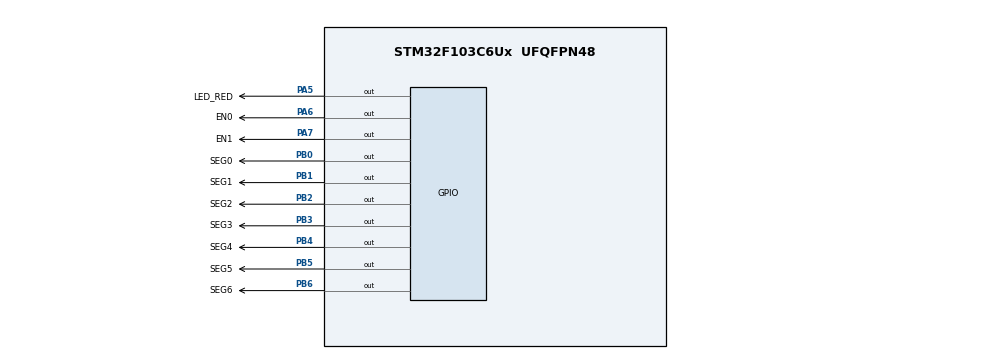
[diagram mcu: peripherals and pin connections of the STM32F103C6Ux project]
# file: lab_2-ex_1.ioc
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Mcu.Family=STM32F1
Mcu.Name=STM32F103C6Ux
Mcu.Package=UFQFPN48
NVIC.PriorityGroup=NVIC_PRIORITYGROUP_4
NVIC.TIM2_IRQn=true\:0\:0\:false\:false\:true\:true\:true
PA5.GPIO_Label=LED_RED
PA5.Signal=GPIO_Output
PA6.GPIO_Label=EN0
PA6.Signal=GPIO_Output
PA7.GPIO_Label=EN1
PA7.Signal=GPIO_Output
PB0.GPIO_Label=SEG0
PB0.Signal=GPIO_Output
PB1.GPIO_Label=SEG1
PB1.Signal=GPIO_Output
PB2.GPIO_Label=SEG2
PB2.Signal=GPIO_Output
PB3.GPIO_Label=SEG3
PB3.Signal=GPIO_Output
PB4.GPIO_Label=SEG4
PB4.Signal=GPIO_Output
PB5.GPIO_Label=SEG5
PB5.Signal=GPIO_Output
PB6.GPIO_Label=SEG6
PB6.Signal=GPIO_Output
ProjectManager.HeapSize=0x200
ProjectManager.StackSize=0x400
ProjectManager.TargetToolchain=STM32CubeIDE
RCC.APB1Freq_Value=8000000
RCC.APB2Freq_Value=8000000
TIM2.Period=9
TIM2.Prescaler=7999
VP_SYS_VS_ND.Mode=No_Debug
VP_TIM2_VS_ClockSourceINT.Mode=Internal
board=custom

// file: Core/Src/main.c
/* USER CODE BEGIN Header */
/**
  ******************************************************************************
  * @file           : main.c
  * @brief          : Main program body
  ******************************************************************************
  * @attention
  *
  * <h2><center>&copy; Copyright (c) 2022 STMicroelectronics.
  * All rights reserved.</center></h2>
  *
  * This software component is licensed by ST under BSD 3-Clause license,
  * the "License"; You may not use this file except in compliance with the
  * License. You may obtain a copy of the License at:
  *                        opensource.org/licenses/BSD-3-Clause
  *
  ******************************************************************************
  */
/* USER CODE END Header */
#include "main.h"

/* USER CODE BEGIN Includes */
#include "software_timer.h"
/* USER CODE END Includes */

TIM_HandleTypeDef htim2;

void SystemClock_Config(void);
static void MX_GPIO_Init(void);
static void MX_TIM2_Init(void);

int main(void)
{

  /* MCU Configuration--------------------------------------------------------*/

  /* Reset of all peripherals, Initializes the Flash interface and the Systick. */
  HAL_Init();

  /* USER CODE BEGIN Init */

//  uint8_t segmentNumber[10] = {
//		  0x3f,  // 0
//		  0x06,  // 1
//		  0x5b,  // 2
//		  0x4f,  // 3
//		  0x66,  // 4
//		  0x6d,  // 5
//		  0x7d,  // 6
//		  0x07,  // 7
//		  0x7f,  // 8
//		  0x67   // 9
//  };
  /* USER CODE END Init */

  /* Configure the system clock */
  SystemClock_Config();

  /* Initialize all configured peripherals */
  MX_GPIO_Init();
  MX_TIM2_Init();
  /* USER CODE BEGIN 2 */
  HAL_TIM_Base_Start_IT(&htim2);
  /* USER CODE END 2 */

  /* Infinite loop */
  while (1)
  {

  }
}

void SystemClock_Config(void)
{
  RCC_OscInitTypeDef RCC_OscInitStruct = {0};
  RCC_ClkInitTypeDef RCC_ClkInitStruct = {0};

  /** Initializes the RCC Oscillators according to the specified parameters
  * in the RCC_OscInitTypeDef structure.
  */
  RCC_OscInitStruct.OscillatorType = RCC_OSCILLATORTYPE_HSI;
  RCC_OscInitStruct.HSIState = RCC_HSI_ON;
  RCC_OscInitStruct.HSICalibrationValue = RCC_HSICALIBRATION_DEFAULT;
  RCC_OscInitStruct.PLL.PLLState = RCC_PLL_NONE;
  if (HAL_RCC_OscConfig(&RCC_OscInitStruct) != HAL_OK)
  {
    Error_Handler();
  }
  /** Initializes the CPU, AHB and APB buses clocks
  */
  RCC_ClkInitStruct.ClockType = RCC_CLOCKTYPE_HCLK|RCC_CLOCKTYPE_SYSCLK
                              |RCC_CLOCKTYPE_PCLK1|RCC_CLOCKTYPE_PCLK2;
  RCC_ClkInitStruct.SYSCLKSource = RCC_SYSCLKSOURCE_HSI;
  RCC_ClkInitStruct.AHBCLKDivider = RCC_SYSCLK_DIV1;
  RCC_ClkInitStruct.APB1CLKDivider = RCC_HCLK_DIV1;
  RCC_ClkInitStruct.APB2CLKDivider = RCC_HCLK_DIV1;

  if (HAL_RCC_ClockConfig(&RCC_ClkInitStruct, FLASH_LATENCY_0) != HAL_OK)
  {
    Error_Handler();
  }
}

static void MX_TIM2_Init(void)
{

  TIM_ClockConfigTypeDef sClockSourceConfig = {0};
  TIM_MasterConfigTypeDef sMasterConfig = {0};

  htim2.Instance = TIM2;
  htim2.Init.Prescaler = 7999;
  htim2.Init.CounterMode = TIM_COUNTERMODE_UP;
  htim2.Init.Period = 9;
  htim2.Init.ClockDivision = TIM_CLOCKDIVISION_DIV1;
  htim2.Init.AutoReloadPreload = TIM_AUTORELOAD_PRELOAD_DISABLE;
  if (HAL_TIM_Base_Init(&htim2) != HAL_OK)
  {
    Error_Handler();
  }
  sClockSourceConfig.ClockSource = TIM_CLOCKSOURCE_INTERNAL;
  if (HAL_TIM_ConfigClockSource(&htim2, &sClockSourceConfig) != HAL_OK)
  {
    Error_Handler();
  }
  sMasterConfig.MasterOutputTrigger = TIM_TRGO_RESET;
  sMasterConfig.MasterSlaveMode = TIM_MASTERSLAVEMODE_DISABLE;
  if (HAL_TIMEx_MasterConfigSynchronization(&htim2, &sMasterConfig) != HAL_OK)
  {
    Error_Handler();
  }

}

static void MX_GPIO_Init(void)
{
  GPIO_InitTypeDef GPIO_InitStruct = {0};

  /* GPIO Ports Clock Enable */
  __HAL_RCC_GPIOA_CLK_ENABLE();
  __HAL_RCC_GPIOB_CLK_ENABLE();

  /*Configure GPIO pin Output Level */
  HAL_GPIO_WritePin(GPIOA, LED_RED_Pin|EN0_Pin|EN1_Pin, GPIO_PIN_RESET);

  /*Configure GPIO pin Output Level */
  HAL_GPIO_WritePin(GPIOB, SEG0_Pin|SEG1_Pin|SEG2_Pin|SEG3_Pin
                          |SEG4_Pin|SEG5_Pin|SEG6_Pin, GPIO_PIN_RESET);

  /*Configure GPIO pins : LED_RED_Pin EN0_Pin EN1_Pin */
  GPIO_InitStruct.Pin = LED_RED_Pin|EN0_Pin|EN1_Pin;
  GPIO_InitStruct.Mode = GPIO_MODE_OUTPUT_PP;
  GPIO_InitStruct.Pull = GPIO_NOPULL;
  GPIO_InitStruct.Speed = GPIO_SPEED_FREQ_LOW;
  HAL_GPIO_Init(GPIOA, &GPIO_InitStruct);

  /*Configure GPIO pins : SEG0_Pin SEG1_Pin SEG2_Pin SEG3_Pin
                           SEG4_Pin SEG5_Pin SEG6_Pin */
  GPIO_InitStruct.Pin = SEG0_Pin|SEG1_Pin|SEG2_Pin|SEG3_Pin
                          |SEG4_Pin|SEG5_Pin|SEG6_Pin;
  GPIO_InitStruct.Mode = GPIO_MODE_OUTPUT_PP;
  GPIO_InitStruct.Pull = GPIO_NOPULL;
  GPIO_InitStruct.Speed = GPIO_SPEED_FREQ_LOW;
  HAL_GPIO_Init(GPIOB, &GPIO_InitStruct);

}

/* USER CODE BEGIN 4 */
int segment_flag = 1;
int timer_flag = 50;
void HAL_TIM_PeriodElapsedCallback(TIM_HandleTypeDef *htim){
	if(timer_flag > 0){
	  if(timer_flag == 50){
		  switch(segment_flag){
				case 1:
					segment_flag = 2;
					HAL_GPIO_WritePin(EN1_GPIO_Port, EN1_Pin, SET);
					HAL_GPIO_WritePin(EN0_GPIO_Port, EN0_Pin, RESET);
					HAL_GPIO_WritePin(SEG0_GPIO_Port, SEG0_Pin, SET);
					HAL_GPIO_WritePin(SEG1_GPIO_Port, SEG1_Pin, RESET);
					HAL_GPIO_WritePin(SEG2_GPIO_Port, SEG2_Pin, RESET);
					HAL_GPIO_WritePin(SEG3_GPIO_Port, SEG3_Pin, SET);
					HAL_GPIO_WritePin(SEG4_GPIO_Port, SEG4_Pin, SET);
					HAL_GPIO_WritePin(SEG5_GPIO_Port, SEG5_Pin, SET);
					HAL_GPIO_WritePin(SEG6_GPIO_Port, SEG6_Pin, SET);
					break;
				case 2:
					segment_flag = 1;
					HAL_GPIO_WritePin(EN0_GPIO_Port, EN0_Pin, SET);
					HAL_GPIO_WritePin(EN1_GPIO_Port, EN1_Pin, RESET);
					HAL_GPIO_WritePin(SEG0_GPIO_Port, SEG0_Pin, RESET);
					HAL_GPIO_WritePin(SEG1_GPIO_Port, SEG1_Pin, RESET);
					HAL_GPIO_WritePin(SEG2_GPIO_Port, SEG2_Pin, SET);
					HAL_GPIO_WritePin(SEG3_GPIO_Port, SEG3_Pin, RESET);
					HAL_GPIO_WritePin(SEG4_GPIO_Port, SEG4_Pin, RESET);
					HAL_GPIO_WritePin(SEG5_GPIO_Port, SEG5_Pin, SET);
					HAL_GPIO_WritePin(SEG6_GPIO_Port, SEG6_Pin, RESET);
					break;
				default:
					break;
				}
		  }
		  timer_flag--;
		  if(timer_flag == 0){
			  timer_flag = 50;
			  HAL_GPIO_TogglePin(LED_RED_GPIO_Port, LED_RED_Pin);
		  }
		}
}
/* USER CODE END 4 */

void Error_Handler(void)
{
  __disable_irq();
  while (1)
  {
  }
}

/************************ (C) COPYRIGHT STMicroelectronics *****END OF FILE****/
